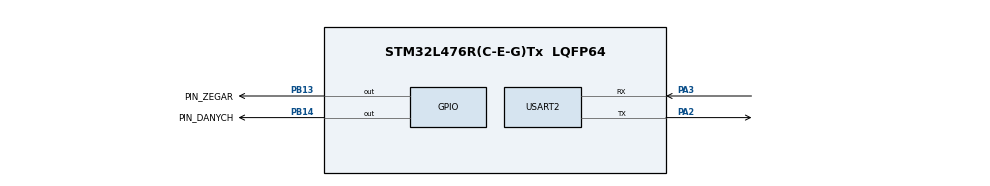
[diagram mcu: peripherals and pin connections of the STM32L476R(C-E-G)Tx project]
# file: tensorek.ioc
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Mcu.Family=STM32L4
RCC.MSI_VALUE=4000000
PB14.GPIO_Label=PIN_DANYCH
PB13.GPIO_Label=PIN_ZEGAR
PB13.Signal=GPIO_Output
ProjectManager.StackSize=0x400
PA3.Mode=Asynchronous
ProjectManager.TargetToolchain=STM32CubeIDE
RCC.LSE_VALUE=32768
PB14.Signal=GPIO_Output
RCC.HSE_VALUE=8000000
board=custom
USART2.VirtualMode-Asynchronous=VM_ASYNC
RCC.VCOOutputFreq_Value=32000000
Mcu.Name=STM32L476R(C-E-G)Tx
PA2.Signal=USART2_TX
Mcu.Package=LQFP64
ProjectManager.HeapSize=0x200
RCC.HSI_VALUE=16000000
NVIC.PriorityGroup=NVIC_PRIORITYGROUP_4
PA2.Mode=Asynchronous
PA3.Signal=USART2_RX

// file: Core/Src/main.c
/* USER CODE BEGIN Header */
/**
  ******************************************************************************
  * @file           : main.c
  * @brief          : Main program body
  ******************************************************************************
  * @attention
  *
  * <h2><center>&copy; Copyright (c) 2021 STMicroelectronics.
  * All rights reserved.</center></h2>
  *
  * This software component is licensed by ST under BSD 3-Clause license,
  * the "License"; You may not use this file except in compliance with the
  * License. You may obtain a copy of the License at:
  *                        opensource.org/licenses/BSD-3-Clause
  *
  ******************************************************************************
  */
/* USER CODE END Header */
#include "main.h"

/* USER CODE BEGIN Includes */
#include <stdio.h>
#include <string.h>
#include <math.h>
#include <hx711.h>
/* USER CODE END Includes */

UART_HandleTypeDef huart2;

/* USER CODE BEGIN PV */
hx711_t loadcell;
float weight;
__int64_t kaliber;
__int64_t wynik;
char connector[30];
char calculator[4];
/* USER CODE END PV */

void SystemClock_Config(void);
static void MX_GPIO_Init(void);
static void MX_USART2_UART_Init(void);

/* USER CODE BEGIN 0 */
void send_char(char c)
{
//	while (USART_GetFlagStatus(USART2, USART_FLAG_TXE) == RESET);
	USART_SendData(USART2, c);
}

void send_string(const char* s)
{
    while (*s)
        send_char(*s++);
}
void delay_us(void){
  uint32_t delay = 4;
  while (delay > 0){
    delay--;
  }
}
__int64_t odczyt(){//dane neutra jak i po xniejse

	__int64_t dane=0;
	//HAL_GPIO_WritePin(PIN_ZEGAR_GPIO_Port, PIN_ZEGAR_Pin, GPIO_PIN_RESET);//zegar
	while(HAL_GPIO_ReadPin(PIN_DANYCH_GPIO_Port, PIN_DANYCH_Pin) == GPIO_PIN_SET)//pin_danych==1);
		delay_us();
	for(int i=0;i<24;i++){
		//HAL_UART_Transmit(&huart2, (uint8_t*)message, strlen(message), HAL_MAX_DELAY);
		HAL_GPIO_WritePin(PIN_ZEGAR_GPIO_Port, PIN_ZEGAR_Pin, GPIO_PIN_SET);//pin_zegar=1;
		delay_us();
		HAL_GPIO_WritePin(PIN_ZEGAR_GPIO_Port, PIN_ZEGAR_Pin, GPIO_PIN_RESET);//pin_zegar=0;
		//dane=HAL_GPIO_ReadPin(PIN_DANYCH_GPIO_Port, PIN_DANYCH_Pin);//odczytjue pin_danych do dane;
		delay_us();
		dane=dane<<1;
		if(HAL_GPIO_ReadPin(PIN_DANYCH_GPIO_Port, PIN_DANYCH_Pin)==GPIO_PIN_SET)
			dane++;
	}
	dane=dane^ 0x800000;
	HAL_GPIO_WritePin(PIN_ZEGAR_GPIO_Port, PIN_ZEGAR_Pin, GPIO_PIN_SET);//pin_zegar=1;
	delay_us();
	HAL_GPIO_WritePin(PIN_ZEGAR_GPIO_Port, PIN_ZEGAR_Pin, GPIO_PIN_RESET);//pin_zegar=0;
	//odczyt dane przez bin;
	return dane;
}

/* USER CODE END 0 */

int main(void)
{

  /* MCU Configuration--------------------------------------------------------*/

  /* Reset of all peripherals, Initializes the Flash interface and the Systick. */
  HAL_Init();

  /* USER CODE BEGIN Init */
   GPIO_InitTypeDef gpio;

  /* USER CODE END Init */

  /* Configure the system clock */
  SystemClock_Config();

  /* Initialize all configured peripherals */
  MX_GPIO_Init();
  MX_USART2_UART_Init();
  /* USER CODE BEGIN 2 */

  MX_GPIO_Init();
  const char message[] = "0\r\n";
  const char message2[] = "1\r\n";
  const char message4[24];
  const char message3[] = "2\r\n";
  const char message5[] = "jetem tu\r\n";

  int pom=0;
  int weight1, weight2;
  HAL_UART_Transmit(&huart2, (uint8_t*)message, strlen(message), HAL_MAX_DELAY);

  /* USER CODE END 2 */

  /* Infinite loop */
  while (1)
  {

    /* USER CODE BEGIN 3 */
	  HAL_UART_Receive(&huart2,&connector,3,HAL_MAX_DELAY);
	 // HAL_UART_Transmit(&huart2,&connector,1,HAL_MAX_DELAY);
	  if(strncmp(connector,message2,1)==0){
		  hx711_init(&loadcell, PIN_ZEGAR_GPIO_Port, PIN_ZEGAR_Pin, PIN_DANYCH_GPIO_Port, PIN_DANYCH_Pin);
		    hx711_coef_set(&loadcell, 354.5); // read afer calibration
		    hx711_tare(&loadcell, 10);
		    HAL_Delay(500);
		    weight = hx711_weight(&loadcell, 10);
		    weight2 = (int) (weight);
		    while (1){
		    	HAL_Delay(500);
		        weight = hx711_weight(&loadcell, 10);
		    	weight1 = (int) ((weight)-weight2)*3.5;
		        sprintf(message4,"%d\r\n",weight1);
		        HAL_UART_Transmit(&huart2, (uint8_t*)message4, strlen(message4), HAL_MAX_DELAY);
		    }
		  connector[5]="0\r\n";

	  }
  }
  /* USER CODE END 3 */
}

void SystemClock_Config(void)
{
  RCC_OscInitTypeDef RCC_OscInitStruct = {0};
  RCC_ClkInitTypeDef RCC_ClkInitStruct = {0};
  RCC_PeriphCLKInitTypeDef PeriphClkInit = {0};

  /** Initializes the RCC Oscillators according to the specified parameters
  * in the RCC_OscInitTypeDef structure.
  */
  RCC_OscInitStruct.OscillatorType = RCC_OSCILLATORTYPE_MSI;
  RCC_OscInitStruct.MSIState = RCC_MSI_ON;
  RCC_OscInitStruct.MSICalibrationValue = 0;
  RCC_OscInitStruct.MSIClockRange = RCC_MSIRANGE_6;
  RCC_OscInitStruct.PLL.PLLState = RCC_PLL_NONE;
  if (HAL_RCC_OscConfig(&RCC_OscInitStruct) != HAL_OK)
  {
    Error_Handler();
  }
  /** Initializes the CPU, AHB and APB buses clocks
  */
  RCC_ClkInitStruct.ClockType = RCC_CLOCKTYPE_HCLK|RCC_CLOCKTYPE_SYSCLK
                              |RCC_CLOCKTYPE_PCLK1|RCC_CLOCKTYPE_PCLK2;
  RCC_ClkInitStruct.SYSCLKSource = RCC_SYSCLKSOURCE_MSI;
  RCC_ClkInitStruct.AHBCLKDivider = RCC_SYSCLK_DIV1;
  RCC_ClkInitStruct.APB1CLKDivider = RCC_HCLK_DIV1;
  RCC_ClkInitStruct.APB2CLKDivider = RCC_HCLK_DIV1;

  if (HAL_RCC_ClockConfig(&RCC_ClkInitStruct, FLASH_LATENCY_0) != HAL_OK)
  {
    Error_Handler();
  }
  PeriphClkInit.PeriphClockSelection = RCC_PERIPHCLK_USART2;
  PeriphClkInit.Usart2ClockSelection = RCC_USART2CLKSOURCE_PCLK1;
  if (HAL_RCCEx_PeriphCLKConfig(&PeriphClkInit) != HAL_OK)
  {
    Error_Handler();
  }
  /** Configure the main internal regulator output voltage
  */
  if (HAL_PWREx_ControlVoltageScaling(PWR_REGULATOR_VOLTAGE_SCALE1) != HAL_OK)
  {
    Error_Handler();
  }
}

static void MX_USART2_UART_Init(void)
{

  huart2.Instance = USART2;
  huart2.Init.BaudRate = 115200;
  huart2.Init.WordLength = UART_WORDLENGTH_8B;
  huart2.Init.StopBits = UART_STOPBITS_1;
  huart2.Init.Parity = UART_PARITY_NONE;
  huart2.Init.Mode = UART_MODE_TX_RX;
  huart2.Init.HwFlowCtl = UART_HWCONTROL_NONE;
  huart2.Init.OverSampling = UART_OVERSAMPLING_16;
  huart2.Init.OneBitSampling = UART_ONE_BIT_SAMPLE_DISABLE;
  huart2.AdvancedInit.AdvFeatureInit = UART_ADVFEATURE_NO_INIT;
  if (HAL_UART_Init(&huart2) != HAL_OK)
  {
    Error_Handler();
  }

}

static void MX_GPIO_Init(void)
{
  GPIO_InitTypeDef GPIO_InitStruct = {0};

  /* GPIO Ports Clock Enable */
  __HAL_RCC_GPIOA_CLK_ENABLE();
  __HAL_RCC_GPIOB_CLK_ENABLE();

  /*Configure GPIO pin Output Level */
  HAL_GPIO_WritePin(GPIOB, PIN_ZEGAR_Pin|PIN_DANYCH_Pin, GPIO_PIN_RESET);

  /*Configure GPIO pins : PIN_ZEGAR_Pin PIN_DANYCH_Pin */
  GPIO_InitStruct.Pin = PIN_ZEGAR_Pin|PIN_DANYCH_Pin;
  GPIO_InitStruct.Mode = GPIO_MODE_OUTPUT_PP;
  GPIO_InitStruct.Pull = GPIO_NOPULL;
  GPIO_InitStruct.Speed = GPIO_SPEED_FREQ_LOW;
  HAL_GPIO_Init(GPIOB, &GPIO_InitStruct);

}

void Error_Handler(void)
{
  __disable_irq();
  while (1)
  {
  }
}

/************************ (C) COPYRIGHT STMicroelectronics *****END OF FILE****/
